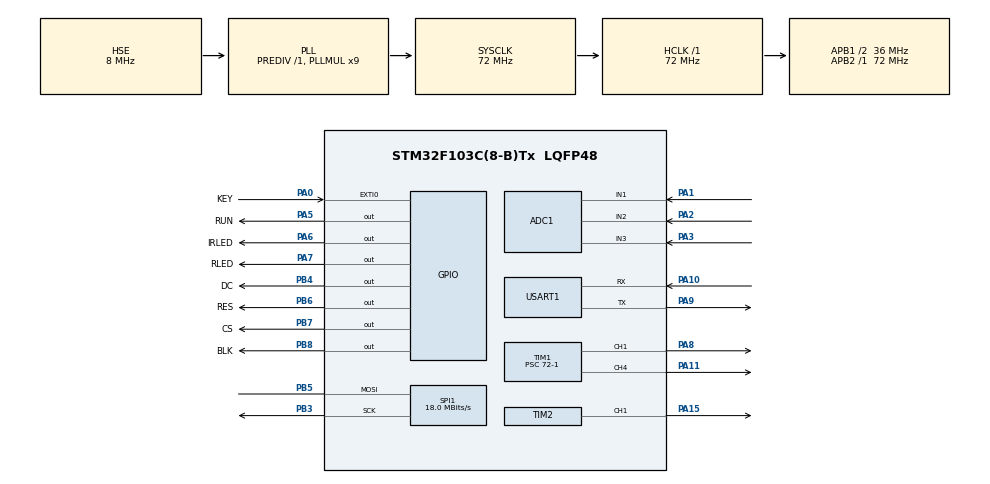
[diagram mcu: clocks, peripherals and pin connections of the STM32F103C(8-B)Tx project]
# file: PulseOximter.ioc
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ADC1.Channel-1\#ChannelRegularConversion=ADC_CHANNEL_1
ADC1.NbrOfConversionFlag=1
ADC1.Rank-1\#ChannelRegularConversion=1
ADC1.SamplingTime-1\#ChannelRegularConversion=ADC_SAMPLETIME_1CYCLE_5
ADC1.master=1
Mcu.Family=STM32F1
Mcu.Name=STM32F103C(8-B)Tx
Mcu.Package=LQFP48
NVIC.EXTI0_IRQn=true\:2\:0\:true\:false\:true\:true\:true\:true
NVIC.PriorityGroup=NVIC_PRIORITYGROUP_4
NVIC.TIM3_IRQn=true\:1\:0\:true\:false\:true\:true\:true\:true
PA0-WKUP.GPIO_Label=KEY
PA0-WKUP.GPIO_ModeDefaultEXTI=GPIO_MODE_IT_FALLING
PA0-WKUP.Signal=GPXTI0
PA1.Signal=ADCx_IN1
PA10.Mode=Asynchronous
PA10.Signal=USART1_RX
PA11.Signal=S_TIM1_CH4
PA13.Mode=Serial_Wire
PA13.Signal=SYS_JTMS-SWDIO
PA14.Mode=Serial_Wire
PA14.Signal=SYS_JTCK-SWCLK
PA15.Signal=S_TIM2_CH1_ETR
PA2.Signal=ADCx_IN2
PA3.Signal=ADCx_IN3
PA5.GPIO_Label=RUN
PA5.Signal=GPIO_Output
PA6.GPIO_Label=IRLED
PA6.Signal=GPIO_Output
PA7.GPIO_Label=RLED
PA7.Signal=GPIO_Output
PA8.Signal=S_TIM1_CH1
PA9.Mode=Asynchronous
PA9.Signal=USART1_TX
PB3.Mode=Simplex_Bidirectional_Master
PB3.Signal=SPI1_SCK
PB4.GPIO_Label=DC
PB4.Signal=GPIO_Output
PB5.Mode=Simplex_Bidirectional_Master
PB5.Signal=SPI1_MOSI
PB6.GPIO_Label=RES
PB6.Signal=GPIO_Output
PB7.GPIO_Label=CS
PB7.Signal=GPIO_Output
PB8.GPIO_Label=BLK
PB8.Signal=GPIO_Output
PC14-OSC32_IN.Mode=LSE-External-Oscillator
PC14-OSC32_IN.Signal=RCC_OSC32_IN
PC15-OSC32_OUT.Mode=LSE-External-Oscillator
PC15-OSC32_OUT.Signal=RCC_OSC32_OUT
PD0-OSC_IN.Mode=HSE-External-Oscillator
PD0-OSC_IN.Signal=RCC_OSC_IN
PD1-OSC_OUT.Mode=HSE-External-Oscillator
PD1-OSC_OUT.Signal=RCC_OSC_OUT
ProjectManager.HeapSize=0x200
ProjectManager.StackSize=0x400
ProjectManager.TargetToolchain=MDK-ARM V5.32
RCC.ADCPresc=RCC_ADCPCLK2_DIV6
RCC.AHBFreq_Value=72000000
RCC.APB1CLKDivider=RCC_HCLK_DIV2
RCC.APB1Freq_Value=36000000
RCC.APB1TimFreq_Value=72000000
RCC.APB2Freq_Value=72000000
RCC.APB2TimFreq_Value=72000000
RCC.HCLKFreq_Value=72000000
RCC.PLLMUL=RCC_PLL_MUL9
RCC.PLLSourceVirtual=RCC_PLLSOURCE_HSE
RCC.SYSCLKFreq_VALUE=72000000
RCC.SYSCLKSource=RCC_SYSCLKSOURCE_PLLCLK
RCC.USBFreq_Value=72000000
SH.ADCx_IN1.0=ADC1_IN1,IN1
SH.ADCx_IN2.0=ADC1_IN2,IN2
SH.ADCx_IN3.0=ADC1_IN3,IN3
SH.S_TIM1_CH1.0=TIM1_CH1,PWM Generation1 CH1
SH.S_TIM1_CH4.0=TIM1_CH4,PWM Generation4 CH4
SH.S_TIM2_CH1_ETR.0=TIM2_CH1,PWM Generation1 CH1
SPI1.BaudRatePrescaler=SPI_BAUDRATEPRESCALER_4
SPI1.CLKPhase=SPI_PHASE_2EDGE
SPI1.CLKPolarity=SPI_POLARITY_HIGH
SPI1.CalculateBaudRate=18.0 MBits/s
SPI1.Direction=SPI_DIRECTION_1LINE
SPI1.Mode=SPI_MODE_MASTER
SPI1.VirtualType=VM_MASTER
TIM1.Channel-PWM\ Generation1\ CH1=TIM_CHANNEL_1
TIM1.Channel-PWM\ Generation4\ CH4=TIM_CHANNEL_4
TIM1.Period=1000-1
TIM1.Prescaler=72-1
TIM1.Pulse-PWM\ Generation1\ CH1=0
TIM1.Pulse-PWM\ Generation4\ CH4=0
TIM2.AutoReloadPreload=TIM_AUTORELOAD_PRELOAD_DISABLE
TIM2.Channel-PWM\ Generation1\ CH1=TIM_CHANNEL_1
TIM3.AutoReloadPreload=TIM_AUTORELOAD_PRELOAD_DISABLE
TIM3.Period=999
TIM3.Prescaler=71
USART1.VirtualMode=VM_ASYNC
VP_TIM3_VS_ClockSourceINT.Mode=Internal
board=custom

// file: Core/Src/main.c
/* USER CODE BEGIN Header */
/**
 ******************************************************************************
 * @file           : main.c
 * @brief          : Main program body
 ******************************************************************************
 * @attention
 *
 * Copyright (c) 2025 STMicroelectronics.
 * All rights reserved.
 *
 * This software is licensed under terms that can be found in the LICENSE file
 * in the root directory of this software component.
 * If no LICENSE file comes with this software, it is provided AS-IS.
 *
 ******************************************************************************
 */
/* USER CODE END Header */
#include "main.h"
#include "adc.h"
#include "spi.h"
#include "tim.h"
#include "usart.h"
#include "gpio.h"

/* USER CODE BEGIN Includes */
#include<stdio.h>
#include<string.h>

#include "lcd.h"
#include "ugui.h"

/* USER CODE END Includes */

/* USER CODE BEGIN PV */
/*GUI相关参数*/
UG_GUI gui;
#define MAX_OBJECTS 10
UG_OBJECT obj_buff_wnd_1[MAX_OBJECTS];
UG_OBJECT obj_buff_wnd_2[MAX_OBJECTS];

UG_WINDOW window_1;
UG_BUTTON button_1;
UG_TEXTBOX textbox_1;

UG_WINDOW window_2;

/*ADC相关参数*/

/*电池电量*/
uint16_t POWER = 40; // 保存电池电量（初始值=80）

/*SPI相关参数*/
uint8_t i, m;
float t = 0;

/*按键相关参数*/
uint8_t flag = 0;
uint8_t lastflag = 0;
uint8_t KEY_state = 0; // 按键状态(0 = 未按下；1 = 按下）
uint16_t KEY_cnt = 0;  // 按键时长累加器

/*128次采样周期结束标志：1为采样中，0为采样结束*/
uint8_t sample_flag = 0;

/*定时器相关参数*/
uint32_t TIM1_counter3 = 3; /*控制发射管的启停时序*/
uint32_t TIM1_counter1 = 0; /*控制按键时序*/

/*发射管引脚状态(共4种状态，初始为状态0)*/
uint8_t SEND_status = 0;

/*发射管电流控制*/
uint8_t pulse_IRcurrent = 0;
uint8_t pulse_Rcurrent = 0;

/*发射管电流增强值(最大为699*/
uint8_t pulse_current_enhance = 300;

/*存储当前处理的信号类型标志：0表示红外，1表示红光*/
uint8_t IRorRED = 0;

/*系统运行状态(0=开机，1=关机)*/
uint8_t system_status = 0;

/* USER CODE END PV */

void SystemClock_Config(void);

/* USER CODE BEGIN 0 */
void window_1_callback(UG_MESSAGE *msg)
{
  if (msg->type == MSG_TYPE_OBJECT)
  {
    if (msg->id == OBJ_TYPE_BUTTON)
    {
      switch (msg->sub_id)
      {
      case BTN_ID_0:
        UG_WindowShow(&window_2);
        /* code */
        break;
      case BTN_ID_1:
        /* code */
        break;
      case BTN_ID_2:
        /* code */
        break;
      case BTN_ID_3:
        /* code */
        break;
      case BTN_ID_4:
        /* code */
        break;
      case BTN_ID_5:
        /* code */
        break;
      case BTN_ID_6:
        /* code */
        break;
      case BTN_ID_7:
        /* code */
        break;
      case BTN_ID_8:
        /* code */
        break;
      case BTN_ID_9:
        /* code */
        break;
      }
    }
  }
}

void First_init(void)
{
  /*开始界面初始化*/

  UG_Init(&gui, (void (*)(UG_S16, UG_S16, UG_COLOR))LCD_DrawPoint, LCD_W, LCD_H); // uGUI初始化
  UG_SelectGUI(&gui);
  UG_WindowCreate(&window_1, obj_buff_wnd_1, MAX_OBJECTS, window_1_callback); // 创建窗口1

  UG_WindowSetTitleText(&window_1, "Pulse Oximeter");
  UG_WindowSetTitleTextFont(&window_1, &FONT_8X8);
  UG_WindowSetBackColor(&window_1, WHITE);
  UG_WindowSetTitleColor(&window_1, GREEN);
  UG_WindowSetTitleTextColor(&window_1, BLACK);

  UG_ButtonCreate(&window_1, &button_1, BTN_ID_0, 36, 0, 126, 35);
  UG_ButtonSetFont(&window_1, BTN_ID_0, &FONT_8X12);
  UG_ButtonSetForeColor(&window_1, BTN_ID_0, RED);
  UG_ButtonSetBackColor(&window_1, BTN_ID_0, BLACK);
  UG_ButtonSetText(&window_1, BTN_ID_0, "Measure");
  UG_ButtonSetStyle(&window_1, BTN_ID_0, BTN_STYLE_3D);
  // UG_TextboxCreate(&window_1, &textbox_1, TXB_ID_0, 0, 0, 126, 30);
  // UG_TextboxSetFont(&window_1, TXB_ID_0, &FONT_6X8);
  // UG_TextboxSetForeColor(&window_1, TXB_ID_0, BLACK);
  // UG_TextboxSetBackColor(&window_1, TXB_ID_0, GREEN);
  // UG_TextboxSetText(&window_1, TXB_ID_0, "AAA");

  UG_WindowShow(&window_1);
  UG_WindowResize(&window_1, 0, 0, 159, 57);
  UG_SetForecolor(BLUE);
  UG_SetBackcolor(WHITE);
  UG_FontSelect(&FONT_12X20);
  UG_PutString(0, 60, "BATTERY:");

  LCD_ShowBattey(100, 56, 1);
  LCD_Show_Power(100, 56, 1, POWER);
}
void window_2_callback(UG_MESSAGE *msg)
{
  if (msg->type == MSG_TYPE_OBJECT)
  {
    if (msg->id == OBJ_TYPE_BUTTON)
    {
      switch (msg->sub_id)
      {
      case BTN_ID_0:
        UG_WindowDelete(&window_2);
        First_init();
        /* code */
        break;
      case BTN_ID_1:
        /* code */
        break;
      case BTN_ID_2:
        /* code */
        break;
      case BTN_ID_3:
        /* code */
        break;
      case BTN_ID_4:
        /* code */
        break;
      case BTN_ID_5:
        /* code */
        break;
      case BTN_ID_6:
        /* code */
        break;
      case BTN_ID_7:
        /* code */
        break;
      case BTN_ID_8:
        /* code */
        break;
      case BTN_ID_9:
        /* code */
        break;
      }
    }
  }
}

void TFT_MENU(void)
{
  if (flag == 1)
  {
    UG_MESSAGE msg;
    msg.type = MSG_TYPE_OBJECT;
    msg.id = OBJ_TYPE_BUTTON;
    msg.sub_id = BTN_ID_0;
    // 将消息发送到处理函数或队列
    // 这里需要根据您的系统架构来实现消息的传递
    window_1_callback(&msg);
    // HAL_GPIO_TogglePin(GPIOA, GPIO_PIN_5);
  }
  if (flag == 2)
  {
    UG_MESSAGE msg;
    msg.type = MSG_TYPE_OBJECT;
    msg.id = OBJ_TYPE_BUTTON;
    msg.sub_id = BTN_ID_0;
    // 将消息发送到处理函数或队列
    // 这里需要根据您的系统架构来实现消息的传递
    window_2_callback(&msg);
    // HAL_GPIO_TogglePin(GPIOA, GPIO_PIN_5);
  }
}

void Measuring_init(void)
{
  /*Measuring界面初始化*/
  UG_WindowCreate(&window_2, obj_buff_wnd_2, MAX_OBJECTS, window_2_callback); // 创建窗口2

  UG_WindowSetTitleText(&window_2, "Pulse Oximeter");
  UG_WindowSetTitleTextFont(&window_2, &FONT_6X8);
  UG_WindowResize(&window_2, 10, 10, 140, 75);
  UG_WindowSetBackColor(&window_2, WHITE);
  UG_WindowSetTitleColor(&window_2, GREEN);
  UG_WindowSetTitleTextColor(&window_2, BLACK);

  UG_WindowSetTitleInactiveColor(&window_1, C_BLACK);
  UG_WindowSetTitleInactiveTextColor(&window_1, C_CYAN);

  UG_TextboxCreate(&window_2, &textbox_1, TXB_ID_0, 0, 0, 126, 40);
  UG_TextboxSetFont(&window_2, TXB_ID_0, &FONT_8X8);
  UG_TextboxSetForeColor(&window_2, TXB_ID_0, BLACK);
  UG_TextboxSetBackColor(&window_2, TXB_ID_0, GREEN);
  UG_TextboxSetText(&window_2, TXB_ID_0, "Measuring...");
}
/* USER CODE END 0 */

int main(void)
{

  /* MCU Configuration--------------------------------------------------------*/

  /* Reset of all peripherals, Initializes the Flash interface and the Systick. */
  HAL_Init();

  /* Configure the system clock */
  SystemClock_Config();

  /* Initialize all configured peripherals */
  MX_GPIO_Init();
  MX_ADC1_Init();
  MX_SPI1_Init();
  MX_TIM1_Init();
  MX_TIM2_Init();
  MX_USART1_UART_Init();
  MX_TIM3_Init();
  /* USER CODE BEGIN 2 */
  HAL_TIM_Base_Start_IT(&htim3);
  HAL_TIM_PWM_Stop(&htim1, TIM_CHANNEL_1);
  HAL_TIM_PWM_Stop(&htim1, TIM_CHANNEL_4);

  Lcd_Init(); // 初始化OLED
  LCD_Clear(WHITE);
  BACK_COLOR = WHITE;
  First_init();
  Measuring_init();
  /* USER CODE END 2 */

  /* Infinite loop */
  /* USER CODE BEGIN WHILE */
  while (1)
  {
    // Measuring_init();
    if (flag != lastflag)
    {
      // 按键状态变化时调用TFT_MENU函数，并传递当前状态
      TFT_MENU();
      // 更新lastButtonState
      lastflag = flag;
    }
    UG_Update();
    // HAL_GPIO_TogglePin(GPIOA, GPIO_PIN_5); // 点亮LED
    // HAL_Delay(1000);
    /* USER CODE END WHILE */

  }
}

void SystemClock_Config(void)
{
  RCC_OscInitTypeDef RCC_OscInitStruct = {0};
  RCC_ClkInitTypeDef RCC_ClkInitStruct = {0};
  RCC_PeriphCLKInitTypeDef PeriphClkInit = {0};

  /** Initializes the RCC Oscillators according to the specified parameters
  * in the RCC_OscInitTypeDef structure.
  */
  RCC_OscInitStruct.OscillatorType = RCC_OSCILLATORTYPE_HSE;
  RCC_OscInitStruct.HSEState = RCC_HSE_ON;
  RCC_OscInitStruct.HSEPredivValue = RCC_HSE_PREDIV_DIV1;
  RCC_OscInitStruct.HSIState = RCC_HSI_ON;
  RCC_OscInitStruct.PLL.PLLState = RCC_PLL_ON;
  RCC_OscInitStruct.PLL.PLLSource = RCC_PLLSOURCE_HSE;
  RCC_OscInitStruct.PLL.PLLMUL = RCC_PLL_MUL9;
  if (HAL_RCC_OscConfig(&RCC_OscInitStruct) != HAL_OK)
  {
    Error_Handler();
  }

  /** Initializes the CPU, AHB and APB buses clocks
  */
  RCC_ClkInitStruct.ClockType = RCC_CLOCKTYPE_HCLK|RCC_CLOCKTYPE_SYSCLK
                              |RCC_CLOCKTYPE_PCLK1|RCC_CLOCKTYPE_PCLK2;
  RCC_ClkInitStruct.SYSCLKSource = RCC_SYSCLKSOURCE_PLLCLK;
  RCC_ClkInitStruct.AHBCLKDivider = RCC_SYSCLK_DIV1;
  RCC_ClkInitStruct.APB1CLKDivider = RCC_HCLK_DIV2;
  RCC_ClkInitStruct.APB2CLKDivider = RCC_HCLK_DIV1;

  if (HAL_RCC_ClockConfig(&RCC_ClkInitStruct, FLASH_LATENCY_2) != HAL_OK)
  {
    Error_Handler();
  }
  PeriphClkInit.PeriphClockSelection = RCC_PERIPHCLK_ADC;
  PeriphClkInit.AdcClockSelection = RCC_ADCPCLK2_DIV6;
  if (HAL_RCCEx_PeriphCLKConfig(&PeriphClkInit) != HAL_OK)
  {
    Error_Handler();
  }
}

/* USER CODE BEGIN 4 */
void HAL_GPIO_EXTI_Callback(uint16_t GPIO_Pin)
{
  if (GPIO_Pin == KEY_Pin)
  {
    KEY_state = 1;
  }
}
/*控制时序说明：每次发射包括四个阶段（IR发射、停止发射、RED发射、停止发射）,每阶段3ms，共计12ms；之后为27ms的延迟（停止发射）；
          上述为一个完整发射循环，每个循环为39ms；完整发射周期包括128次发射循环，共计4.992秒。
  发射管控制时序：
              |IR发射|停止发射|RED发射|停止发射| 延迟 |IR发射|停止发射|RED发射|停止发射| 延迟 |......
    ---------------------------------------------------------------------------------------------------------
      时序(ms)        0      3        6       9        12     39     42       45      48       51     78......
    ---------------------------------------------------------------------------------------------------------
      SEND_state 	    |  1   |   1    |   1   |   1    |   0  |  1   |   1    |   1   |   1    |   0  |......
    ---------------------------------------------------------------------------------------------------------
      SEND_status     |  0   |   1    |   2   |   3    |   0  |  0   |   1    |   2   |   3    |   0  |......
    ---------------------------------------------------------------------------------------------------------
      BTIM1_counter1 △								 △	                                     △
    ---------------------------------------------------------------------------------------------------------
      BTIM1_counter2                                   △                                      △
    ---------------------------------------------------------------------------------------------------------
      pulse_start    △     △       △      △        △ ... △     △       △      △       △ ... △
    ---------------------------------------------------------------------------------------------------------

  */
void HAL_TIM_PeriodElapsedCallback(TIM_HandleTypeDef *htim)
{

  if (htim == &htim3)
  {
    if (sample_flag == 1)
    {
      if (TIM1_counter3 > 2) /*计数达到3ms*/
      {
        TIM1_counter3 = 0;
        switch (SEND_status)
        {
        case 0: /*发射红外信号<3ms*/
        {
          SEND_status++;
          HAL_GPIO_WritePin(IRLED_GPIO_Port, IRLED_Pin, GPIO_PIN_RESET);
          HAL_GPIO_WritePin(RLED_GPIO_Port, RLED_Pin, GPIO_PIN_SET);
          pulse_Rcurrent = 0;
          pulse_IRcurrent = 300 + pulse_current_enhance;
          __HAL_TIM_SET_COMPARE(&htim1, TIM_CHANNEL_1, pulse_IRcurrent); // 设置红外占空比为300+调整值(因为自动重装载值是1000)
          __HAL_TIM_SET_COMPARE(&htim1, TIM_CHANNEL_4, pulse_Rcurrent);  // 设置红光占空比为0；
          HAL_TIM_PWM_Start(&htim1, TIM_CHANNEL_1);
          HAL_TIM_PWM_Start(&htim1, TIM_CHANNEL_4);
          IRorRED = 0; /*红外标志*/
          /*启动ADC采样*/
          break;
        }
        case 1: /*关闭信号发射<3ms*/
        {
          SEND_status++;
          HAL_GPIO_WritePin(IRLED_GPIO_Port, IRLED_Pin, GPIO_PIN_RESET);
          HAL_GPIO_WritePin(RLED_GPIO_Port, RLED_Pin, GPIO_PIN_RESET);
          pulse_Rcurrent = 0;
          pulse_IRcurrent = 0;
          __HAL_TIM_SET_COMPARE(&htim1, TIM_CHANNEL_1, pulse_IRcurrent); // 设置红外占空比为0
          __HAL_TIM_SET_COMPARE(&htim1, TIM_CHANNEL_4, pulse_Rcurrent);  // 设置红光占空比为0
          HAL_TIM_PWM_Stop(&htim1, TIM_CHANNEL_1);
          HAL_TIM_PWM_Stop(&htim1, TIM_CHANNEL_4);
          break;
        }
        case 2: /*发射红光信号<3ms*/
        {
          SEND_status++;
          HAL_GPIO_WritePin(IRLED_GPIO_Port, IRLED_Pin, GPIO_PIN_SET);
          HAL_GPIO_WritePin(RLED_GPIO_Port, RLED_Pin, GPIO_PIN_RESET);
          pulse_IRcurrent = 0;
          pulse_Rcurrent = 300 + pulse_current_enhance;
          __HAL_TIM_SET_COMPARE(&htim1, TIM_CHANNEL_1, pulse_IRcurrent);
          __HAL_TIM_SET_COMPARE(&htim1, TIM_CHANNEL_4, pulse_Rcurrent);
          HAL_TIM_PWM_Start(&htim1, TIM_CHANNEL_1);
          HAL_TIM_PWM_Start(&htim1, TIM_CHANNEL_4);
          IRorRED = 1; /*红光标志*/
          /*启动ADC采样*/
          break;
        }
        case 3: /*关闭信号发射<3ms*/
        {
          SEND_status++;
          HAL_GPIO_WritePin(IRLED_GPIO_Port, IRLED_Pin, GPIO_PIN_RESET);
          HAL_GPIO_WritePin(RLED_GPIO_Port, RLED_Pin, GPIO_PIN_RESET);
          pulse_Rcurrent = 0;
          pulse_IRcurrent = 0;
          __HAL_TIM_SET_COMPARE(&htim1, TIM_CHANNEL_1, pulse_IRcurrent); // 设置红外占空比为0
          __HAL_TIM_SET_COMPARE(&htim1, TIM_CHANNEL_4, pulse_Rcurrent);  // 设置红光占空比为0
          HAL_TIM_PWM_Stop(&htim1, TIM_CHANNEL_1);
          HAL_TIM_PWM_Stop(&htim1, TIM_CHANNEL_4);
          break;
        }
        }
      }
      else
      {
        TIM1_counter3++; /*计数器累加*/
      }
    }
    /*按键控制*/
    if (KEY_state == 1) /*按键状态为按下*/
    {
      if (TIM1_counter1 > 10) /*每隔10ms检测一次*/
      {
        TIM1_counter1 = 0;
        if (GPIO_PIN_RESET == HAL_GPIO_ReadPin(KEY_GPIO_Port, KEY_Pin))
        {
          KEY_cnt++; /*按键时长累加器*/
        }
        else/*松开状态*/
        {
          if (KEY_cnt < 200)/*按下时间小于2秒，短按*/
          {
            KEY_cnt = 0;
            TIM1_counter1 = 0;
            KEY_state = 0;
            if (flag < 2)
            {
              flag++;
            }
            else
            {
              flag = 0;
            }
          }
          if (KEY_cnt >= 200)/*按下时间大于2秒，长按*/
          {
            KEY_cnt = 0;
            TIM1_counter1 = 0;
            KEY_state = 0;
            if (system_status==0)/*系统运行状态为开机*/
            {
              system_status = 1;/*关机*/
            }
            else
            {
              system_status = 0;/*开机*/
            }
          }
        }
      }
      else
      {
        TIM1_counter1++; /*计数器累加*/
      }
    }
    HAL_GPIO_TogglePin(GPIOA, GPIO_PIN_5);
  }
}
/* USER CODE END 4 */

void Error_Handler(void)
{
  __disable_irq();
  while (1)
  {
  }
}
